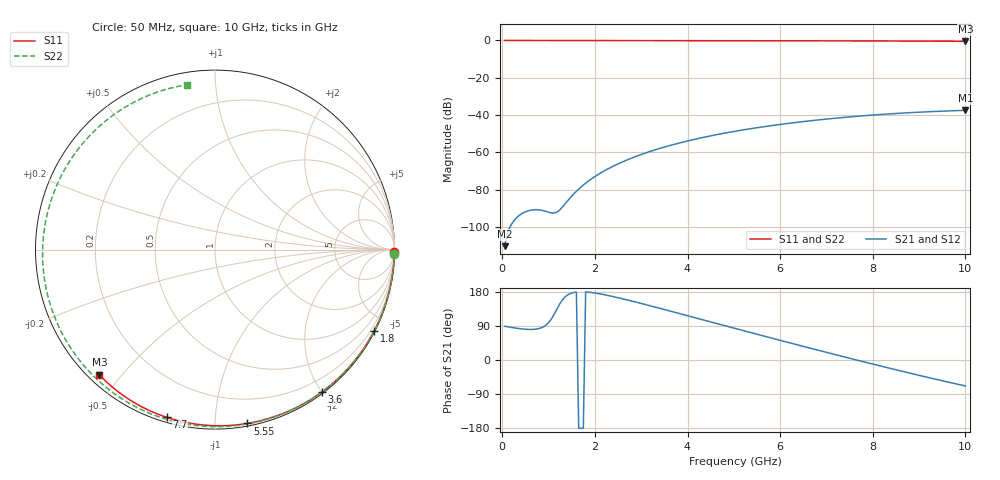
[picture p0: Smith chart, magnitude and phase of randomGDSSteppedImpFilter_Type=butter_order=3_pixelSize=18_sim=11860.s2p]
! freq	dB(S11)	phase(S11)	dB(S12)	phase(S12)
!  dB(S21)	phase(S21)	dB(S22)	phase(S22)
!S-par simulation data
#  GHz  S  DB  R 50
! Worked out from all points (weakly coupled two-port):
!   200 points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, 50 MHz to 10 GHz, reference 50 ohm
!   highest |S21| = -37.44 dB at 10 GHz (marker M1); lowest = -110.2 dB at 50 MHz (marker M2)
!   lowest |S11| = -0.4 dB at 10 GHz (marker M3), VSWR 38.82, Z = 1.53 - j21.9 ohm
!   |S11| at or under -10 dB: nowhere
!   |S22| runs from -0.6 to 0.0 dB; largest |S21 - S12| = 0
!   S11 on the Smith chart (normalised r, x): 50 MHz: open; 1.8 GHz: 0.04, -4.13; 3.6 GHz: 0.02, -2.00; 5.55 GHz: 0.02, -1.20; 7.7 GHz: 0.02, -0.75; 10 GHz: 0.03, -0.44
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0.05  -0.00 -0.8  -110.22 89.1  -110.22 89.1  -0.00 -1.4
0.8  -0.02 -12.2  -90.78 83.3  -90.78 83.3  -0.03 -22.5
1.6  -0.03 -24.2  -80.80 179.5  -80.80 179.5  -0.06 -44.5
1.65  -0.03 -25.0  -79.62 -180.0  -79.62 -180.0  -0.06 -45.8
1.75  -0.03 -26.5  -77.46 -179.9  -77.46 -179.9  -0.06 -48.5
1.8  -0.03 -27.2  -76.46 179.8  -76.46 179.8  -0.06 -49.9
2.1  -0.04 -31.6  -71.35 174.7  -71.35 174.7  -0.07 -57.9
2.5  -0.05 -37.5  -66.12 164.3  -66.12 164.3  -0.09 -68.3
2.9  -0.06 -43.3  -62.00 152.3  -62.00 152.3  -0.10 -78.6
3.4  -0.07 -50.4  -57.85 136.4  -57.85 136.4  -0.12 -91.1
3.6  -0.07 -53.2  -56.41 130.0  -56.41 130.0  -0.13 -96.0
4.3  -0.09 -62.8  -52.15 107.1  -52.15 107.1  -0.16 -113.0
5.05  -0.11 -72.9  -48.56 82.5  -48.56 82.5  -0.20 -130.7
5.55  -0.13 -79.4  -46.56 66.3  -46.56 66.3  -0.23 -142.5
6.15  -0.15 -87.1  -44.51 47.0  -44.51 47.0  -0.27 -156.6
6.7  -0.18 -93.9  -42.90 29.6  -42.90 29.6  -0.31 -169.8
7.2  -0.21 -100.0  -41.64 13.9  -41.64 13.9  -0.36 177.9
7.7  -0.24 -106.1  -40.54 -1.6  -40.54 -1.6  -0.40 165.3
8.35  -0.29 -113.7  -39.36 -21.4  -39.36 -21.4  -0.47 148.1
8.8  -0.33 -119.0  -38.69 -34.7  -38.69 -34.7  -0.51 135.5
9.25  -0.37 -124.2  -38.13 -47.7  -38.13 -47.7  -0.55 122.5
10  -0.45 -132.7  -37.44 -68.5  -37.44 -68.5  -0.62 99.6
